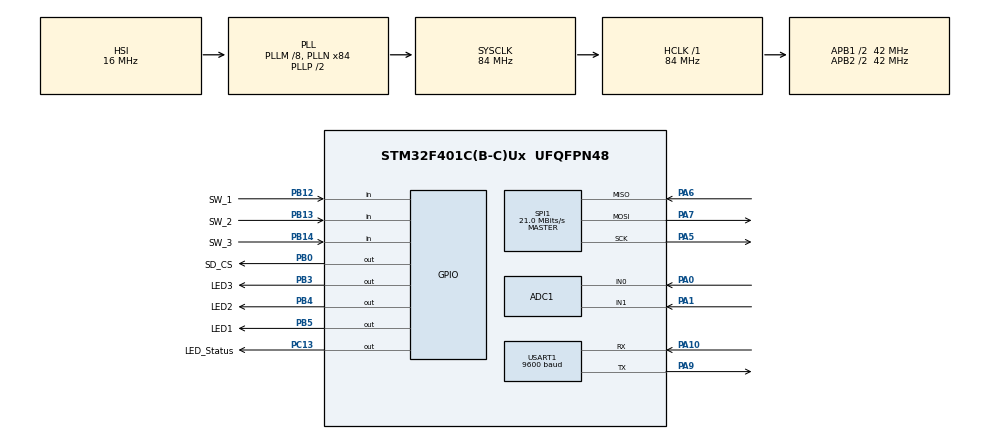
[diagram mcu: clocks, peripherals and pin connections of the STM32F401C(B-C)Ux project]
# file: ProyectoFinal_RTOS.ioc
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ADC1.Channel-0\#ChannelRegularConversion=ADC_CHANNEL_0
ADC1.Channel-1\#ChannelRegularConversion=ADC_CHANNEL_1
ADC1.ClockPrescaler=ADC_CLOCK_SYNC_PCLK_DIV8
ADC1.ContinuousConvMode=ENABLE
ADC1.DMAContinuousRequests=ENABLE
ADC1.EOCSelection=ADC_EOC_SEQ_CONV
ADC1.NbrOfConversion=2
ADC1.NbrOfConversionFlag=1
ADC1.Rank-0\#ChannelRegularConversion=1
ADC1.Rank-1\#ChannelRegularConversion=2
ADC1.SamplingTime-0\#ChannelRegularConversion=ADC_SAMPLETIME_480CYCLES
ADC1.SamplingTime-1\#ChannelRegularConversion=ADC_SAMPLETIME_480CYCLES
ADC1.master=1
Dma.ADC1.0.Direction=DMA_PERIPH_TO_MEMORY
Dma.ADC1.0.FIFOMode=DMA_FIFOMODE_DISABLE
Dma.ADC1.0.Instance=DMA2_Stream0
Dma.ADC1.0.MemDataAlignment=DMA_MDATAALIGN_WORD
Dma.ADC1.0.MemInc=DMA_MINC_ENABLE
Dma.ADC1.0.Mode=DMA_CIRCULAR
Dma.ADC1.0.PeriphDataAlignment=DMA_PDATAALIGN_WORD
Dma.ADC1.0.PeriphInc=DMA_PINC_DISABLE
Dma.ADC1.0.Priority=DMA_PRIORITY_LOW
Dma.Request0=ADC1
FATFS._MAX_SS=4096
FREERTOS.HEAP_NUMBER=4
FREERTOS.Queues01=ADC1_Queue,500,uint16_t,0,Static,ADC1_QueueBuffer,ADC1_QueueControlBlock;Pulsadores_Queue,1,uint16_t,0,Dynamic,NULL,NULL;SD_CMD_Queue,5,uint16_t,0,Dynamic,NULL,NULL;SD_STATUS_Queue,5,uint16_t,0,Dynamic,NULL,NULL;ADC1_Queue2,100,uint16_t,0,Static,ADC1_Queue2Buffer,ADC1_Queue2ControlBlock;BT_Queue,100,uint16_t,0,Static,BT_QueueBuffer,BT_QueueControlBlock
FREERTOS.Tasks01=LecturaPulsador,-2,128,StartLecturaPulsadores,Default,NULL,Dynamic,NULL,NULL;TarjetaSD,2,5000,StartTarjetaSD,Default,NULL,Dynamic,NULL,NULL;MainTask,0,512,StartMainTask,Default,NULL,Dynamic,NULL,NULL;ManejoLEDs,-2,256,StartManejoLEDs,Default,NULL,Dynamic,NULL,NULL;RunningTask,-2,128,StartRunningTask,Default,NULL,Dynamic,NULL,NULL;TareaBluetooth,-3,256,StartTareaBluetooth,Default,NULL,Dynamic,NULL,NULL
FREERTOS.configTOTAL_HEAP_SIZE=30720
Mcu.Family=STM32F4
Mcu.Name=STM32F401C(B-C)Ux
Mcu.Package=UFQFPN48
NVIC.DMA2_Stream0_IRQn=true\:5\:0\:false\:false\:true\:true\:false\:true\:true
NVIC.PriorityGroup=NVIC_PRIORITYGROUP_4
NVIC.TIM1_UP_TIM10_IRQn=true\:15\:0\:false\:false\:true\:false\:false\:true\:true
NVIC.TimeBase=TIM1_UP_TIM10_IRQn
NVIC.TimeBaseIP=TIM10
NVIC.USART1_IRQn=true\:5\:0\:false\:false\:true\:true\:true\:true\:true
PA0-WKUP.Signal=ADCx_IN0
PA1.Signal=ADCx_IN1
PA10.Mode=Asynchronous
PA10.Signal=USART1_RX
PA13.Mode=Serial_Wire
PA13.Signal=SYS_JTMS-SWDIO
PA14.Mode=Serial_Wire
PA14.Signal=SYS_JTCK-SWCLK
PA5.Mode=Full_Duplex_Master
PA5.Signal=SPI1_SCK
PA6.Mode=Full_Duplex_Master
PA6.Signal=SPI1_MISO
PA7.Mode=Full_Duplex_Master
PA7.Signal=SPI1_MOSI
PA9.Mode=Asynchronous
PA9.Signal=USART1_TX
PB0.GPIO_Label=SD_CS
PB0.Signal=GPIO_Output
PB12.GPIO_Label=SW_1
PB12.GPIO_PuPd=GPIO_PULLUP
PB12.Signal=GPIO_Input
PB13.GPIO_Label=SW_2
PB13.GPIO_PuPd=GPIO_PULLUP
PB13.Signal=GPIO_Input
PB14.GPIO_Label=SW_3
PB14.GPIO_PuPd=GPIO_PULLUP
PB14.Signal=GPIO_Input
PB3.GPIO_Label=LED3
PB3.Signal=GPIO_Output
PB4.GPIO_Label=LED2
PB4.Signal=GPIO_Output
PB5.GPIO_Label=LED1
PB5.Signal=GPIO_Output
PC13-ANTI_TAMP.GPIO_Label=LED_Status
PC13-ANTI_TAMP.PinState=GPIO_PIN_SET
PC13-ANTI_TAMP.Signal=GPIO_Output
PH0\ -\ OSC_IN.Mode=HSE-External-Oscillator
PH0\ -\ OSC_IN.Signal=RCC_OSC_IN
PH1\ -\ OSC_OUT.Mode=HSE-External-Oscillator
PH1\ -\ OSC_OUT.Signal=RCC_OSC_OUT
ProjectManager.HeapSize=0x200
ProjectManager.StackSize=0x400
ProjectManager.TargetToolchain=STM32CubeIDE
RCC.48MHZClocksFreq_Value=42000000
RCC.AHBFreq_Value=84000000
RCC.APB1CLKDivider=RCC_HCLK_DIV2
RCC.APB1Freq_Value=42000000
RCC.APB1TimFreq_Value=84000000
RCC.APB2CLKDivider=RCC_HCLK_DIV2
RCC.APB2Freq_Value=42000000
RCC.APB2TimFreq_Value=84000000
RCC.CortexFreq_Value=84000000
RCC.HCLKFreq_Value=84000000
RCC.HSE_VALUE=25000000
RCC.HSI_VALUE=16000000
RCC.LSE_VALUE=32768
RCC.PLLM=8
RCC.PLLN=84
RCC.SYSCLKFreq_VALUE=84000000
RCC.SYSCLKSource=RCC_SYSCLKSOURCE_PLLCLK
RCC.VCOOutputFreq_Value=168000000
SH.ADCx_IN0.0=ADC1_IN0,IN0
SH.ADCx_IN1.0=ADC1_IN1,IN1
SPI1.CalculateBaudRate=21.0 MBits/s
SPI1.Direction=SPI_DIRECTION_2LINES
SPI1.Mode=SPI_MODE_MASTER
SPI1.VirtualType=VM_MASTER
USART1.BaudRate=9600
USART1.VirtualMode=VM_ASYNC
VP_FATFS_VS_Generic.Mode=User_defined
VP_FREERTOS_VS_CMSIS_V1.Mode=CMSIS_V1
VP_SYS_VS_tim10.Mode=TIM10
board=custom

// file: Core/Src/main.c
/* USER CODE BEGIN Header */
/**
 ******************************************************************************
 * @file           : main.c
 * @brief          : Main program body
 ******************************************************************************
 * @attention
 *
 * Copyright (c) 2022 STMicroelectronics.
 * All rights reserved.
 *
 * This software is licensed under terms that can be found in the LICENSE file
 * in the root directory of this software component.
 * If no LICENSE file comes with this software, it is provided AS-IS.
 *
 ******************************************************************************
 */
/* USER CODE END Header */
#include "main.h"
#include "cmsis_os.h"
#include "fatfs.h"

/* USER CODE BEGIN Includes */
#include "fatfs_sd.h"
#include "string.h"
#include "stdbool.h"
#include "stdio.h"
#include "FIR.h"
#include "stdlib.h"
#include "make_wav.h"
/* USER CODE END Includes */

ADC_HandleTypeDef hadc1;
DMA_HandleTypeDef hdma_adc1;

SPI_HandleTypeDef hspi1;

UART_HandleTypeDef huart1;

osThreadId LecturaPulsadorHandle;
osThreadId TarjetaSDHandle;
osThreadId MainTaskHandle;
osThreadId ManejoLEDsHandle;
osThreadId RunningTaskHandle;
osThreadId TareaBluetoothHandle;
osMessageQId ADC1_QueueHandle;
uint8_t ADC1_QueueBuffer[ 500 * sizeof( uint16_t ) ];
osStaticMessageQDef_t ADC1_QueueControlBlock;
osMessageQId Pulsadores_QueueHandle;
osMessageQId SD_CMD_QueueHandle;
osMessageQId SD_STATUS_QueueHandle;
osMessageQId ADC1_Queue2Handle;
uint8_t ADC1_Queue2Buffer[ 100 * sizeof( uint16_t ) ];
osStaticMessageQDef_t ADC1_Queue2ControlBlock;
osMessageQId BT_QueueHandle;
uint8_t BT_QueueBuffer[ 100 * sizeof( uint16_t ) ];
osStaticMessageQDef_t BT_QueueControlBlock;
/* USER CODE BEGIN PV */

// ---------ESTADOS DEL PROGRAMA----------/
static bool ready = true;
static bool start = false;
static bool stop = false;
static bool grabarECG = false;
static bool grabarAudio = false;

static bool grabandoAudio = false;
static bool grabandoECG = false;
static bool filtrandoAudio = false;
static bool creandoWAV = false;
static bool error = false;
// ---------ESTADOS DEL PROGRAMA----------/

/*----------------------TARJETA SD ------------------------------------------*/

typedef enum {
	CMD_Nada,					//Ninguno
	CMD_GrabarADC_ECG,
	CMD_GrabarADC_Audio,
	CMD_Filtrado_Audio,
	CMD_ArchivoWav,
	CMD_Stop

} ComandosSD;

typedef enum {
	STAT_Listo,					//Ninguno
	STAT_Grabando_ECG,
	STAT_Grabando_Audio,
	STAT_Filtrando_Audio,
	STAT_Creando_WAV,
	STAT_Error

} EstadoSD;
/*----------------------TARJETA SD ------------------------------------------*/

/*----------------------ADC------------------------------------------*/
#define recordingAudioTime 10 // Tiempo de grabacion en segundos
#define recordingECGTime 30 // Tiempo de grabacion en segundos
// ---------FRECUENCIA DE MUESTREO ----------/
#define  SAMPLE_RATE_AUDIO 5303
#define  SAMPLE_RATE_ECG 1303
/* Calculado ->>
 * tconv = (Sampling Time + 15 cycles)/(APB2 Clock / Prescaler) = (480 + 15)/(2.625 Mhz)
 * tconv SAMPLE_RATE_AUDIO = 1/tconv
 */
// ---------FRECUENCIA DE MUESTREO ----------/

uint16_t contadorTest = 0;
uint32_t contadorIT_ADC = 0; //contador rutina de interrupción ADC
static const uint32_t samplesAudio_Total = recordingAudioTime
		* SAMPLE_RATE_AUDIO; //Cantidad de samplesAudio_Total totales que se deben adquirir
static const uint32_t samplesECG_Total = recordingECGTime * SAMPLE_RATE_ECG; //Cantidad de samplesAudio totales que se deben adquirir
uint32_t samplesAudio_count = 0; //Contador de samplesAudio
uint32_t samplesECG_count = 0; //Contador de samplesAudio
bool listoADC_Audio = false;
bool listoADC_ECG = false;

uint32_t datosDMA_ADC[2];

int numGrabacionADC = 0;

/****************FILTRO*********************/
#define FIR_FILTER_LENGHT 16
FIRFilter filtroPB;
//Coeficientes del filtro
static float FIR_IMPULSE_RESPONSE[FIR_FILTER_LENGHT] = { -0.0034586f,
		-0.0046729f, -0.0046977f, 0.0041916f, 0.0301665f, 0.0745832f,
		0.1277316f, 0.1715579f, 0.1885725f, 0.1715579f, 0.1277316f, 0.0745832f,
		0.0301665f, 0.0041916f, -0.0046977f, -0.0046729f };
float circularBuffer[FIR_FILTER_LENGHT] = { 0 };
uint16_t dato = 0;
/****************FILTRO*********************/

// ---------enum PULSADORES ----------/
typedef enum {
	P_None,					//Ninguno
	P_Start_Stop,
	P_GrabarECG,
	P_GrabarAudio
} Pulsadores;				//Los 3 pulsadores posibles. El 4to es de reset

// ---------enum PULSADORES ----------/

// ---------BT ----------/
bool BT_Listo = true;
// ---------BT ----------/

/* USER CODE END PV */

void SystemClock_Config(void);
static void MX_GPIO_Init(void);
static void MX_ADC1_Init(void);
static void MX_SPI1_Init(void);
static void MX_DMA_Init(void);
static void MX_USART1_UART_Init(void);
void StartLecturaPulsadores(void const * argument);
void StartTarjetaSD(void const * argument);
void StartMainTask(void const * argument);
void StartManejoLEDs(void const * argument);
void StartRunningTask(void const * argument);
void StartTareaBluetooth(void const * argument);

int main(void)
{

  /* MCU Configuration--------------------------------------------------------*/

  /* Reset of all peripherals, Initializes the Flash interface and the Systick. */
  HAL_Init();

  /* Configure the system clock */
  SystemClock_Config();

  /* Initialize all configured peripherals */
  MX_GPIO_Init();
  MX_DMA_Init();
  MX_ADC1_Init();
  MX_SPI1_Init();

  MX_FATFS_Init();
  MX_USART1_UART_Init();
  /* USER CODE BEGIN 2 */
 //OJO CON EL BUG ^^^^^
  //TIENE QUE IR ASI
  /*
   MX_GPIO_Init();
   MX_DMA_Init();
   MX_ADC1_Init();
   MX_SPI1_Init();
   MX_FATFS_Init();
   */
  /* USER CODE END 2 */

  /* Create the queue(s) */
  /* definition and creation of ADC1_Queue */
  osMessageQStaticDef(ADC1_Queue, 500, uint16_t, ADC1_QueueBuffer, &ADC1_QueueControlBlock);
  ADC1_QueueHandle = osMessageCreate(osMessageQ(ADC1_Queue), NULL);

  /* definition and creation of Pulsadores_Queue */
  osMessageQDef(Pulsadores_Queue, 1, uint16_t);
  Pulsadores_QueueHandle = osMessageCreate(osMessageQ(Pulsadores_Queue), NULL);

  /* definition and creation of SD_CMD_Queue */
  osMessageQDef(SD_CMD_Queue, 5, uint16_t);
  SD_CMD_QueueHandle = osMessageCreate(osMessageQ(SD_CMD_Queue), NULL);

  /* definition and creation of SD_STATUS_Queue */
  osMessageQDef(SD_STATUS_Queue, 5, uint16_t);
  SD_STATUS_QueueHandle = osMessageCreate(osMessageQ(SD_STATUS_Queue), NULL);

  /* definition and creation of ADC1_Queue2 */
  osMessageQStaticDef(ADC1_Queue2, 100, uint16_t, ADC1_Queue2Buffer, &ADC1_Queue2ControlBlock);
  ADC1_Queue2Handle = osMessageCreate(osMessageQ(ADC1_Queue2), NULL);

  /* definition and creation of BT_Queue */
  osMessageQStaticDef(BT_Queue, 100, uint16_t, BT_QueueBuffer, &BT_QueueControlBlock);
  BT_QueueHandle = osMessageCreate(osMessageQ(BT_Queue), NULL);

  /* Create the thread(s) */
  /* definition and creation of LecturaPulsador */
  osThreadDef(LecturaPulsador, StartLecturaPulsadores, osPriorityLow, 0, 128);
  LecturaPulsadorHandle = osThreadCreate(osThread(LecturaPulsador), NULL);

  /* definition and creation of TarjetaSD */
  osThreadDef(TarjetaSD, StartTarjetaSD, osPriorityHigh, 0, 5000);
  TarjetaSDHandle = osThreadCreate(osThread(TarjetaSD), NULL);

  /* definition and creation of MainTask */
  osThreadDef(MainTask, StartMainTask, osPriorityNormal, 0, 512);
  MainTaskHandle = osThreadCreate(osThread(MainTask), NULL);

  /* definition and creation of ManejoLEDs */
  osThreadDef(ManejoLEDs, StartManejoLEDs, osPriorityLow, 0, 256);
  ManejoLEDsHandle = osThreadCreate(osThread(ManejoLEDs), NULL);

  /* definition and creation of RunningTask */
  osThreadDef(RunningTask, StartRunningTask, osPriorityLow, 0, 128);
  RunningTaskHandle = osThreadCreate(osThread(RunningTask), NULL);

  /* definition and creation of TareaBluetooth */
  osThreadDef(TareaBluetooth, StartTareaBluetooth, osPriorityIdle, 0, 256);
  TareaBluetoothHandle = osThreadCreate(osThread(TareaBluetooth), NULL);

  /* Start scheduler */
  osKernelStart();

  /* We should never get here as control is now taken by the scheduler */
  /* Infinite loop */
	while (1) {

	}
}

void SystemClock_Config(void)
{
  RCC_OscInitTypeDef RCC_OscInitStruct = {0};
  RCC_ClkInitTypeDef RCC_ClkInitStruct = {0};

  /** Configure the main internal regulator output voltage
  */
  __HAL_RCC_PWR_CLK_ENABLE();
  __HAL_PWR_VOLTAGESCALING_CONFIG(PWR_REGULATOR_VOLTAGE_SCALE2);
  /** Initializes the RCC Oscillators according to the specified parameters
  * in the RCC_OscInitTypeDef structure.
  */
  RCC_OscInitStruct.OscillatorType = RCC_OSCILLATORTYPE_HSI;
  RCC_OscInitStruct.HSIState = RCC_HSI_ON;
  RCC_OscInitStruct.HSICalibrationValue = RCC_HSICALIBRATION_DEFAULT;
  RCC_OscInitStruct.PLL.PLLState = RCC_PLL_ON;
  RCC_OscInitStruct.PLL.PLLSource = RCC_PLLSOURCE_HSI;
  RCC_OscInitStruct.PLL.PLLM = 8;
  RCC_OscInitStruct.PLL.PLLN = 84;
  RCC_OscInitStruct.PLL.PLLP = RCC_PLLP_DIV2;
  RCC_OscInitStruct.PLL.PLLQ = 4;
  if (HAL_RCC_OscConfig(&RCC_OscInitStruct) != HAL_OK)
  {
    Error_Handler();
  }
  /** Initializes the CPU, AHB and APB buses clocks
  */
  RCC_ClkInitStruct.ClockType = RCC_CLOCKTYPE_HCLK|RCC_CLOCKTYPE_SYSCLK
                              |RCC_CLOCKTYPE_PCLK1|RCC_CLOCKTYPE_PCLK2;
  RCC_ClkInitStruct.SYSCLKSource = RCC_SYSCLKSOURCE_PLLCLK;
  RCC_ClkInitStruct.AHBCLKDivider = RCC_SYSCLK_DIV1;
  RCC_ClkInitStruct.APB1CLKDivider = RCC_HCLK_DIV2;
  RCC_ClkInitStruct.APB2CLKDivider = RCC_HCLK_DIV2;

  if (HAL_RCC_ClockConfig(&RCC_ClkInitStruct, FLASH_LATENCY_2) != HAL_OK)
  {
    Error_Handler();
  }
}

static void MX_ADC1_Init(void)
{

  ADC_ChannelConfTypeDef sConfig = {0};

  /** Configure the global features of the ADC (Clock, Resolution, Data Alignment and number of conversion)
  */
  hadc1.Instance = ADC1;
  hadc1.Init.ClockPrescaler = ADC_CLOCK_SYNC_PCLK_DIV8;
  hadc1.Init.Resolution = ADC_RESOLUTION_12B;
  hadc1.Init.ScanConvMode = ENABLE;
  hadc1.Init.ContinuousConvMode = ENABLE;
  hadc1.Init.DiscontinuousConvMode = DISABLE;
  hadc1.Init.ExternalTrigConvEdge = ADC_EXTERNALTRIGCONVEDGE_NONE;
  hadc1.Init.ExternalTrigConv = ADC_SOFTWARE_START;
  hadc1.Init.DataAlign = ADC_DATAALIGN_RIGHT;
  hadc1.Init.NbrOfConversion = 2;
  hadc1.Init.DMAContinuousRequests = ENABLE;
  hadc1.Init.EOCSelection = ADC_EOC_SEQ_CONV;
  if (HAL_ADC_Init(&hadc1) != HAL_OK)
  {
    Error_Handler();
  }
  /** Configure for the selected ADC regular channel its corresponding rank in the sequencer and its sample time.
  */
  sConfig.Channel = ADC_CHANNEL_0;
  sConfig.Rank = 1;
  sConfig.SamplingTime = ADC_SAMPLETIME_480CYCLES;
  if (HAL_ADC_ConfigChannel(&hadc1, &sConfig) != HAL_OK)
  {
    Error_Handler();
  }
  /** Configure for the selected ADC regular channel its corresponding rank in the sequencer and its sample time.
  */
  sConfig.Channel = ADC_CHANNEL_1;
  sConfig.Rank = 2;
  if (HAL_ADC_ConfigChannel(&hadc1, &sConfig) != HAL_OK)
  {
    Error_Handler();
  }

}

static void MX_SPI1_Init(void)
{

  /* SPI1 parameter configuration*/
  hspi1.Instance = SPI1;
  hspi1.Init.Mode = SPI_MODE_MASTER;
  hspi1.Init.Direction = SPI_DIRECTION_2LINES;
  hspi1.Init.DataSize = SPI_DATASIZE_8BIT;
  hspi1.Init.CLKPolarity = SPI_POLARITY_LOW;
  hspi1.Init.CLKPhase = SPI_PHASE_1EDGE;
  hspi1.Init.NSS = SPI_NSS_SOFT;
  hspi1.Init.BaudRatePrescaler = SPI_BAUDRATEPRESCALER_2;
  hspi1.Init.FirstBit = SPI_FIRSTBIT_MSB;
  hspi1.Init.TIMode = SPI_TIMODE_DISABLE;
  hspi1.Init.CRCCalculation = SPI_CRCCALCULATION_DISABLE;
  hspi1.Init.CRCPolynomial = 10;
  if (HAL_SPI_Init(&hspi1) != HAL_OK)
  {
    Error_Handler();
  }

}

static void MX_USART1_UART_Init(void)
{

  huart1.Instance = USART1;
  huart1.Init.BaudRate = 9600;
  huart1.Init.WordLength = UART_WORDLENGTH_8B;
  huart1.Init.StopBits = UART_STOPBITS_1;
  huart1.Init.Parity = UART_PARITY_NONE;
  huart1.Init.Mode = UART_MODE_TX_RX;
  huart1.Init.HwFlowCtl = UART_HWCONTROL_NONE;
  huart1.Init.OverSampling = UART_OVERSAMPLING_16;
  if (HAL_UART_Init(&huart1) != HAL_OK)
  {
    Error_Handler();
  }

}

static void MX_DMA_Init(void)
{

  /* DMA controller clock enable */
  __HAL_RCC_DMA2_CLK_ENABLE();

  /* DMA interrupt init */
  /* DMA2_Stream0_IRQn interrupt configuration */
  HAL_NVIC_SetPriority(DMA2_Stream0_IRQn, 5, 0);
  HAL_NVIC_EnableIRQ(DMA2_Stream0_IRQn);

}

static void MX_GPIO_Init(void)
{
  GPIO_InitTypeDef GPIO_InitStruct = {0};

  /* GPIO Ports Clock Enable */
  __HAL_RCC_GPIOC_CLK_ENABLE();
  __HAL_RCC_GPIOH_CLK_ENABLE();
  __HAL_RCC_GPIOA_CLK_ENABLE();
  __HAL_RCC_GPIOB_CLK_ENABLE();

  /*Configure GPIO pin Output Level */
  HAL_GPIO_WritePin(LED_Status_GPIO_Port, LED_Status_Pin, GPIO_PIN_SET);

  /*Configure GPIO pin Output Level */
  HAL_GPIO_WritePin(GPIOB, SD_CS_Pin|LED3_Pin|LED2_Pin|LED1_Pin, GPIO_PIN_RESET);

  /*Configure GPIO pin : LED_Status_Pin */
  GPIO_InitStruct.Pin = LED_Status_Pin;
  GPIO_InitStruct.Mode = GPIO_MODE_OUTPUT_PP;
  GPIO_InitStruct.Pull = GPIO_NOPULL;
  GPIO_InitStruct.Speed = GPIO_SPEED_FREQ_LOW;
  HAL_GPIO_Init(LED_Status_GPIO_Port, &GPIO_InitStruct);

  /*Configure GPIO pins : SD_CS_Pin LED3_Pin LED2_Pin LED1_Pin */
  GPIO_InitStruct.Pin = SD_CS_Pin|LED3_Pin|LED2_Pin|LED1_Pin;
  GPIO_InitStruct.Mode = GPIO_MODE_OUTPUT_PP;
  GPIO_InitStruct.Pull = GPIO_NOPULL;
  GPIO_InitStruct.Speed = GPIO_SPEED_FREQ_LOW;
  HAL_GPIO_Init(GPIOB, &GPIO_InitStruct);

  /*Configure GPIO pins : SW_1_Pin SW_2_Pin SW_3_Pin */
  GPIO_InitStruct.Pin = SW_1_Pin|SW_2_Pin|SW_3_Pin;
  GPIO_InitStruct.Mode = GPIO_MODE_INPUT;
  GPIO_InitStruct.Pull = GPIO_PULLUP;
  HAL_GPIO_Init(GPIOB, &GPIO_InitStruct);

}

/* USER CODE BEGIN 4 */
void HAL_UART_TxCpltCallback(UART_HandleTypeDef *huart)
{
   BT_Listo = true;
}
/* ---------------------- RUTINA DE INTERRUPCIÓN ADC ---------------------*/
void HAL_ADC_ConvCpltCallback(ADC_HandleTypeDef *hadc) {

	/*
	 * LOS DATOS DEL ADC SE GRABAN MEDIANTE DMA (DIRECT MEMORY ACESS)
	 * EL MICRO LO HACE EN SEGUNDO PLANO AUTOMATICAMENTE
	 * No se porqué al agregar DMA con 2 canales tuve que duplicar la frecuencia del
	 * APB2clock de 21 a 42 MHz, porque sino me muestreaba a la mitad de velocidad que yo queria
	 * 5303 samples/s.
	 * */

	if (grabandoAudio && !listoADC_Audio) {
		//datosDMA_ADC[1] contiene el valor del canal 2 del ADC (Pin A1)
		osMessagePut(ADC1_QueueHandle, datosDMA_ADC[1], 0); //Lo coloco en la cola de mensajes correspondiente al muestreo del audio
		samplesAudio_count++;
	}
	//Se muestrea el ECG 4 veces mas lento que el audio
	//datosDMA_ADC[0] contiene el valor del canal 1 del ADC (Pin A0)
	if (grabandoECG && (contadorIT_ADC % 4 == 0) && !listoADC_ECG){
		osMessagePut(ADC1_Queue2Handle, datosDMA_ADC[0], 0);  //Lo coloco en la cola de mensajes correspondiente al muestreo del ECG
		osMessagePut(BT_QueueHandle,datosDMA_ADC[0],0);
		samplesECG_count++;
	}
	contadorIT_ADC++;
	//osMessagePut(ADC1_QueueHandle, contadorTest++, 0);// Prueba para ver si se graban todos los valores
	/*If continuousconversion mode is DISABLED uncomment below*/

}
/* ---------------------- RUTINA DE INTERRUPCIÓN ADC ---------------------*/
/* USER CODE END 4 */

/* USER CODE BEGIN Header_StartLecturaPulsadores */
/**
 * @brief  Funcion que implementa la tarea encargada de leer los pulsadores.
 * Esta misma le envia una cola de mensajes a la tarea Main con el valor correspondiente
 * al pulsador presionado
 * @param  argument: Not used
 * @retval None
 */
/* USER CODE END Header_StartLecturaPulsadores */
void StartLecturaPulsadores(void const * argument)
{
  /* USER CODE BEGIN 5 */
	/* Infinite loop */
	Pulsadores teclaPulsada = P_None;
	for (;;)

	{

		if (HAL_GPIO_ReadPin(SW_1_GPIO_Port, SW_1_Pin) == GPIO_PIN_RESET) {
			teclaPulsada = P_Start_Stop;
			osMessagePut(Pulsadores_QueueHandle, teclaPulsada, 100);
			osDelay(250);

		}
		if (HAL_GPIO_ReadPin(SW_2_GPIO_Port, SW_2_Pin) == GPIO_PIN_RESET) {
			teclaPulsada = P_GrabarECG;
			osMessagePut(Pulsadores_QueueHandle, teclaPulsada, 100);
			osDelay(250);
		}
		if (HAL_GPIO_ReadPin(SW_3_GPIO_Port, SW_3_Pin) == GPIO_PIN_RESET) {
			teclaPulsada = P_GrabarAudio;
			osMessagePut(Pulsadores_QueueHandle, teclaPulsada, 100);
			osDelay(250);
		}

		osDelay(50);

	}
  /* USER CODE END 5 */
}

/* USER CODE BEGIN Header_StartTarjetaSD */
/**
 * @brief Funcion que implementa la tarea TarjetaSD
 * Originalmente esta tarea se iba a encargar únicamente de leer y escribir datos en la tarjeta SD
 * pero por practicidad también se encarga de filtrar el archivo de audio y de generar el .WAV
 * Recibe mensajes de la main task con los comandos que le indican que hacer, y ademas recibe 2 colas
 * de mensajes de la rutina de interrupción del ADC, con los datos tanto del muestreo del ECG y del audio
 * @param argument: Not used
 * @retval None
 */
/* USER CODE END Header_StartTarjetaSD */
void StartTarjetaSD(void const * argument)
{
  /* USER CODE BEGIN StartTarjetaSD */
	/*-------------CREACION DE VARIABLES DE LA SD TASK -----------------*/
	ComandosSD comandoMainTask = CMD_Nada;//Comandos que envia por mensaje la mainTask
	uint16_t datoADCAudio = 0;
	uint16_t datoADC_ECG = 0;

	/* ------- ESTADOS DE LA TAREA SD -----*/
	//Estas variables se setean con comandos de la main task
	bool AlmacenarADCAudio = false;
	bool AlmacenarADC_ECG = false;
	bool errorSD = false;
	bool stop = false;
	bool filtrarAudio = false;
	bool crearWAV = false;
	/* ------- ESTADOS DE LA TAREA SD -----*/

	/* PARA ARMAR LOS NOMBRES DE LOS ARCHIVOS*/
	static const char *wav = ".wav";
	static const char *csv = ".csv";
	static const char *filtrada = "%i_filt"; //El %i sirve para que la funcion sprintf lo reemplaze por un numero
	static const char *grabacion = "%i_unf";
	static const char *ECG = "%i_ECG";

	char nombreArchivo1[24] = { 0 }; //Archivo1 y Archivo2 son para Audio
	char nombreArchivo2[24] = { 0 };
	char nombreArchivoECG[24] = { 0 };
	/* PARA ARMAR LOS NOMBRES DE LOS ARCHIVOS*/

	FIL Archivo1;  //Estructura con los datos del archivo 1
	FIL Archivo2;  //Estructura con los datos del archivo 2
	FIL ArchivoECG;  //Estructura con los datos del archivo ECG
	FATFS fs; //file system

	/*-------------CREACION DE VARIABLES DE LA SD TASK -----------------*/

	/*-------------SE EJECUTA UNA SOLA VEZ ANTES DEL LOOP -----------------*/
	//Intento montar la tarjeta SD antes de entrar en el loop
	if (f_mount(&fs, "", 1) != FR_OK) {
		errorSD = true;
		osMessagePut(SD_STATUS_QueueHandle, STAT_Error, 0); //Envio mensaje de error a la main Task
	} else {
		f_mount(NULL, "", 1); //Desmonto la SD
		osDelay(200);
		osMessagePut(SD_STATUS_QueueHandle, STAT_Listo, 0); // esta okey

	}
	osDelay(100);
	/*-------------SE EJECUTA UNA SOLA VEZ ANTES DEL LOOP -----------------*/
	/* Infinite loop */
	for (;;) {

		//------------COMANDOS PROVENIENTES DE LA MAIN TASK----------------------------//
		if (osMessageWaiting(SD_CMD_QueueHandle) > 0) { //Si hay un mensaje nuevo proveniente de la main task
			comandoMainTask = osMessageGet(SD_CMD_QueueHandle, 0).value.v;

			switch (comandoMainTask) {

			case CMD_Stop:
				stop = true;
				break;
			case CMD_GrabarADC_Audio: //La main task me ordena que comience a almacenar Audio proveniente del ADC

				/*-----------Monto la tarjeta SD--------------------*/
				if (f_mount(&fs, "", 1) != FR_OK) {
					errorSD = true;
					osMessagePut(SD_STATUS_QueueHandle, STAT_Error, 0); //Envio mensaje de error a la main Task
				}
				/*-----------Monto la tarjeta SD--------------------*/
				/*-----------CREO EL ARCHIVO PARA ALMACENAR LOS DATOS DEL ADC SIN FILTRAR--------------------*/
				memset(nombreArchivo1, 0, sizeof(nombreArchivo1));
				memset(nombreArchivo2, 0, sizeof(nombreArchivo2));
				sprintf(nombreArchivo1, grabacion, numGrabacionADC);
				strcat(nombreArchivo1, csv);

				/*-----------CREO EL ARCHIVO PARA ALMACENAR LOS DATOS DEL ADC SIN FILTRAR--------------------*/
				if (f_open(&Archivo1, nombreArchivo1,
						FA_CREATE_ALWAYS | FA_READ | FA_WRITE) != FR_OK) {
					errorSD = true;
					osMessagePut(SD_STATUS_QueueHandle, STAT_Error, 0); //Envio mensaje de error a la main Task
				} else {
					AlmacenarADCAudio = true;
					osMessagePut(SD_STATUS_QueueHandle, STAT_Grabando_Audio, 0); //Le envio mensaje a la main diciendo que comienza la grabacion
					HAL_ADC_Start_DMA(&hadc1, datosDMA_ADC, 2); //Arranco al ADC por DMA
				}

				break;
			case CMD_GrabarADC_ECG:  //La main me ordena que comience a almacenar ECG proveniente del ADC

				/*-----------CREO EL ARCHIVO PARA ALMACENAR LOS DATOS DEL ADC DEL ECG--------------------*/
				memset(nombreArchivoECG, 0, sizeof(nombreArchivoECG));
				sprintf(nombreArchivoECG, ECG, numGrabacionADC);
				strcat(nombreArchivoECG, csv);
				/*-----------CREO EL ARCHIVO PARA ALMACENAR LOS DATOS DEL ADC DEL ECG--------------------*/

				if (!AlmacenarADCAudio) { //Si tambien estoy grabando audio encontces la tarjeta SD ya esta montada
					/*-----------Monto la tarjeta SD--------------------*/
					if (f_mount(&fs, "", 1) != FR_OK) {
						errorSD = true;
						osMessagePut(SD_STATUS_QueueHandle, STAT_Error, 0); //Envio mensaje de error a la main Task
					}
					/*-----------Monto la tarjeta SD--------------------*/
				}

				if (f_open(&ArchivoECG, nombreArchivoECG,
						FA_CREATE_ALWAYS | FA_READ | FA_WRITE) != FR_OK) {
					errorSD = true;
					osMessagePut(SD_STATUS_QueueHandle, STAT_Error, 0); //Envio mensaje de error a la main Task
				} else {
					if (!AlmacenarADCAudio) HAL_ADC_Start_DMA(&hadc1, datosDMA_ADC, 2); //Si ya estoy almacenando audio, no hace falta arrancar ADC

					osMessagePut(SD_STATUS_QueueHandle, STAT_Grabando_ECG, 0); //Envio mensaje a la main diciendo que estoy grabando ECG
					AlmacenarADC_ECG = true;
				}

				break;

			case CMD_Filtrado_Audio:

				filtrarAudio = true;

				break;
			case CMD_ArchivoWav:
				crearWAV = true;
				break;

			default:
				break;
			}
		}

		//------------COMANDOS PROVENIENTES DE LA MAIN TASK----------------------------//

		if ((AlmacenarADCAudio || AlmacenarADC_ECG) && !errorSD) {

			if (osMessageWaiting(ADC1_QueueHandle) > 0) { //Me fijo si la interrupcion del ADC me mando dato
				datoADCAudio =
						(uint16_t) osMessageGet(ADC1_QueueHandle, 0).value.v;
				f_printf(&Archivo1, "%u,", datoADCAudio); // Voy grabando los datos de audio en el archivo
			}else
			if (osMessageWaiting(ADC1_Queue2Handle) > 0) { //Me fijo si la interrupcion del ADC me mando dato
				datoADC_ECG =
						(uint16_t) osMessageGet(ADC1_Queue2Handle, 0).value.v;
				f_printf(&ArchivoECG, "%u,", datoADC_ECG); // Voy grabando los datos de ECG en el archivo
			}else
			{

			if (stop) //La main task me puede detener por pulsador o porque ya se registraron los datos necesarios
			{

				stop = false;
				if (AlmacenarADCAudio)
					f_close(&Archivo1); //cerrar archivo
				osDelay(100);
				if (AlmacenarADC_ECG)
				{
					f_lseek(&ArchivoECG, f_tell(&ArchivoECG) -1 );  //Borro la ultima ','
					f_putc('\0',&ArchivoECG );						//Borro la ultima ','
					osDelay(10);
					f_close(&ArchivoECG); //cerrar archivo
				}
				osDelay(100);
				AlmacenarADCAudio = false;
				AlmacenarADC_ECG = false;
				osMessagePut(SD_STATUS_QueueHandle, STAT_Listo, 0); //Le digo a la Main que ya termine de almacenar
			}
			osDelay(5);
			}

		}

		if (filtrarAudio && !errorSD) {
			FIRFilter_Init(&filtroPB, FIR_IMPULSE_RESPONSE, circularBuffer,
			FIR_FILTER_LENGHT); 		//inicio el filtro

			sprintf(nombreArchivo2, filtrada, numGrabacionADC);
			strcat(nombreArchivo2, csv);

			if (f_open(&Archivo2, nombreArchivo2, //Creo el archivo para almacenar samplesAudio_Total filtradas
					FA_CREATE_ALWAYS | FA_READ | FA_WRITE) != FR_OK) {
				errorSD = true;
				osMessagePut(SD_STATUS_QueueHandle, STAT_Error, 0); //Envio mensaje de error a la main Task
			}

			osDelay(100);

			if (f_open(&Archivo1, nombreArchivo1, FA_READ) != FR_OK) {//Abro el archivo de las samplesAudio_Total sin filtro
				errorSD = true;
				osMessagePut(SD_STATUS_QueueHandle, STAT_Error, 0); //Envio mensaje de error a la main Task
			} else {
				osMessagePut(SD_STATUS_QueueHandle, STAT_Filtrando_Audio, 0);
				char readBuffer[4] = { 0 };	//buffer para leer 4 char que son los digitos de un dato int
				char writeBuffer[6] = { 0 }; //buffer para escribir en char un numero int
				float number = 0.0f;
				int intNumber = 0;
				int i = 0;
				UINT bytesLeidos = 0;
				BYTE buffer[1]; // array de 1, es decir, un solo caracter
				FRESULT resultado;
				/*
				 * A continuación voy a leer un archivo .csv quiere decir que todos los datos estan escritos como cadena
				 * de caracteres separados por coma, por ejemplo 1234,5678,1234,3423.... etc
				 * es por eso que debo leer los 4 caracteres del numero y formar un int con ellos
				 * si leo una coma ',' quiere decir que ya lei el numero completo y debo pasar al siguiente
				 * */
				int contadorDelay = 0; // contador para agregar un osDelay y que el sistema no se cuelgue
				for (;;) { //Bucle que lee de un archivo csv, aplica el filtro y escribe en el otro

					resultado = f_read(&Archivo1, buffer, sizeof buffer,
							&bytesLeidos); //Leo  un char
					if (bytesLeidos == 0)
						break; /* error or eof */

					switch (buffer[0]) {
					case ',': //Si el char es una coma quiere decir que ya lei el numero completo
						i = 0;
						number = atof(readBuffer); //paso de una cadena de char a un float
						FIRFilter_Update(&filtroPB, number); // Actualizo el filtro FIR con el float
						intNumber = (int) filtroPB.out; //El nuevo valor es la salida del filtro FIR
						if (intNumber < 0){ //Por si el filtro devuelve valores negativos
							//Salteo numeros negativos
						} else
						{
						sprintf(writeBuffer, "%04d,", intNumber); //Escribo una cadena de char a partir de un int
						f_puts(writeBuffer, &Archivo2);
						}
						memset(readBuffer, 0, sizeof(readBuffer)); //Vacio los buffer
						memset(writeBuffer, 0, sizeof(writeBuffer)); //Vacio los buffer
						contadorDelay++;

						break;
					default: //Si el char no es una coma voy almacenando los digitos del numero en un array
						readBuffer[i++] = buffer[0];
						if (i > strlen(readBuffer))
							i = 0;
						break;

					}
					if (contadorDelay >= 20) //Delay cada x datos escritos para que se ejecuten otras tareas
							{
						contadorDelay = 0;
						osDelay(1);
					}

				}
				f_close(&Archivo1);
				f_close(&Archivo2);
				filtrarAudio = false;
				f_mount(NULL, "", 1); //Desmonto la SD
				osMessagePut(SD_STATUS_QueueHandle, STAT_Listo, 0);

			}

		}

		if (crearWAV && !errorSD) {
			//Creo  un archivo .wav a partir de un archivo csv con esta funcion
			memset(nombreArchivo2, 0, sizeof(nombreArchivo2));
			sprintf(nombreArchivo2, filtrada, numGrabacionADC);
			strcat(nombreArchivo2, wav);

			memset(nombreArchivo1, 0, sizeof(nombreArchivo1));
			sprintf(nombreArchivo1, filtrada, numGrabacionADC);
			strcat(nombreArchivo1, csv);

			if (f_mount(&fs, "", 1) != FR_OK) {
				errorSD = true;
				osMessagePut(SD_STATUS_QueueHandle, STAT_Error, 0); //Envio mensaje de error a la main Task
			}

			if (f_open(&Archivo2, nombreArchivo2, //Creo el archivo para almacenar samplesAudio_Total filtradas
					FA_CREATE_ALWAYS | FA_READ | FA_WRITE) != FR_OK) {
				errorSD = true;
				osMessagePut(SD_STATUS_QueueHandle, STAT_Error, 0); //Envio mensaje de error a la main Task
			}

			osDelay(100);
			if (f_open(&Archivo1, nombreArchivo1, FA_READ) != FR_OK) {//Abro el archivo de las samplesAudio_Total sin filtro
				errorSD = true;
				osMessagePut(SD_STATUS_QueueHandle, STAT_Error, 0); //Envio mensaje de error a la main Task
			} else {
				osMessagePut(SD_STATUS_QueueHandle, STAT_Creando_WAV, 0);

				uint16_t num_channels;
				uint16_t bytes_per_sample;
				uint32_t byte_rate;
				uint32_t samplesCount = 0;
				UINT bytesWritten;
				num_channels = 1; /* monoaural */
				bytes_per_sample = 2; //16 bits
				byte_rate = SAMPLE_RATE_AUDIO * num_channels * bytes_per_sample;

				/* --------------------- ESCRIBO TODO EL HEADER DEL FORMATO WAV ---------------- */
				/* write RIFF header */

				//fwrite("RIFF", 1, 4, Archivo2);
				f_write(&Archivo2, "RIFF", 4, &bytesWritten);
				write_little_endian(
						36
								+ bytes_per_sample * samplesAudio_Total
										* num_channels, 4, &Archivo2);
				//fwrite("WAVE", 1, 4, Archivo2);
				f_write(&Archivo2, "WAVE", 4, &bytesWritten);
				/* write fmt  subchunk */
				//fwrite("fmt ", 1, 4, Archivo2);
				f_write(&Archivo2, "fmt ", 4, &bytesWritten);
				write_little_endian(16, 4, &Archivo2); /* SubChunk1Size is 16 */
				write_little_endian(1, 2, &Archivo2); /* PCM is format 1 */
				write_little_endian(num_channels, 2, &Archivo2);
				write_little_endian(SAMPLE_RATE_AUDIO, 4, &Archivo2);
				write_little_endian(byte_rate, 4, &Archivo2);
				write_little_endian(num_channels * bytes_per_sample, 2,
						&Archivo2); /* block align */
				write_little_endian(8 * bytes_per_sample, 2, &Archivo2); /* bits/sample */
				/* --------------------- ESCRIBO TODO EL HEADER DEL FORMATO WAV ---------------- 	 */
				/* write data subchunk */
				//fwrite("data", 1, 4, Archivo2);
				f_write(&Archivo2, "data", 4, &bytesWritten);
				osDelay(100);

				char readBuffer[4] = { 0 };
				int intNumber = 0;
				int normalizedNumber;
				int i = 0;
				UINT bytesLeidos = 0;
				BYTE buffer[1]; // array de 1, es decir, un solo caracter

				for (;;) {
					f_read(&Archivo1, buffer, sizeof buffer, &bytesLeidos); //Leo  un char
					if (bytesLeidos == 0)
						break; /* error or eof */

					switch (buffer[0]) {
					case ',': //Si el char es una coma quiere decir que ya lei el numero completo
						i = 0;
						intNumber = atoi(readBuffer);
						//Escalo el valor del adc (0 a 4095) a valores int16_t que van desde -32768 a 32767
						normalizedNumber = (((65535) / (4095)) * intNumber)
								- 32768;

						//if(normalizedNumber != 0) //Si el wav arranca con datos 0 se chotea

						write_little_endian((int16_t) (normalizedNumber),
								bytes_per_sample, &Archivo2);

						memset(readBuffer, 0, sizeof(readBuffer));
						samplesCount++;
						break;
					default: //Si el char no es una coma voy almacenando los digitos del numero en un array
						readBuffer[i++] = buffer[0];
						if (i > sizeof(readBuffer))
							i = 0;
						break;

					}
					if (samplesCount % 20 == 0) //delay para que se ejecuten otras tareas
							{
						osDelay(1);
					}
					if (samplesCount >= samplesAudio_Total)
						break;
				}
				f_close(&Archivo1);
				f_close(&Archivo2);

			}
			crearWAV = false;
			f_mount(NULL, "", 1); //Desmonto la SD
			osMessagePut(SD_STATUS_QueueHandle, STAT_Listo, 0);

		}

		if (!AlmacenarADCAudio && !AlmacenarADC_ECG) {
			osDelay(10);
		}

	}
  /* USER CODE END StartTarjetaSD */
}

void StartMainTask(void const * argument)
{
  /* USER CODE BEGIN StartMainTask */

	/*-------------CREACION DE VARIABLES DE LA MAIN TASK */
	Pulsadores teclaPulsada = P_None;
	EstadoSD estadoSDTask = STAT_Listo;
	bool listoSD = false;
	/*-------------CREACION DE VARIABLES DE LA MAIN TASK */

	/* Infinite loop */
	for (;;) {

		/*-----------------PULSADORES PRESIONADOS ---------------------*/
		if (osMessageWaiting(Pulsadores_QueueHandle) > 0) {
			teclaPulsada = osMessageGet(Pulsadores_QueueHandle, 0).value.v;

			switch (teclaPulsada) {
			case P_Start_Stop:

				if (!error && ready && !stop && (grabarAudio || grabarECG))
				{
					start = true;
				} else
				{
					stop = true;
				}

				break;
			case P_GrabarECG:
				if (ready)
					grabarECG = !grabarECG;

				break;
			case P_GrabarAudio:
				if (ready)
					grabarAudio = !grabarAudio;

				break;
			default:
				break;
			}

		}
		/*-----------------PULSADORES PRESIONADOS ---------------------*/

		/*-----------------Comunicacion con la tarea SD ---------------------*/
		if (osMessageWaiting(SD_STATUS_QueueHandle) > 0) {
			estadoSDTask = osMessageGet(SD_STATUS_QueueHandle, 0).value.v;

			switch (estadoSDTask) {
			case STAT_Listo:
				listoSD = true;
				break;
			case STAT_Error:
				error = true;
				break;
			case STAT_Grabando_Audio:
				grabandoAudio = true;
				break;
			case STAT_Filtrando_Audio:
				filtrandoAudio = true;
				break;
			case STAT_Creando_WAV:
				creandoWAV = true;
				break;

			case STAT_Grabando_ECG:
				grabandoECG = true;
				break;

			default:
				break;
			}

		}
		/*-----------------PULSADORES PRESIONADOS ---------------------*/

		/*----------------- LOGICA DEL PROGRAMA ---------------------*/
		if (start && ready) {
			start = false;
			ready = false;

			if (grabarAudio || grabarECG)

			{
				listoSD = false;
				numGrabacionADC++;
				if (grabarAudio) {
					samplesAudio_count = 0;
					osMessagePut(SD_CMD_QueueHandle, CMD_GrabarADC_Audio, 0);
				} else
					listoADC_Audio = true;
				if (grabarECG) {
					samplesECG_count = 0;
					osMessagePut(SD_CMD_QueueHandle, CMD_GrabarADC_ECG, 0);

				} else
					listoADC_ECG = true;
			}

		}

		if (samplesAudio_count >= samplesAudio_Total || stop) {

			listoADC_Audio = true;
			samplesAudio_count = 0;
		}

		if (samplesECG_count >= samplesECG_Total || stop) {
			stop=false;
			listoADC_ECG = true;
			samplesECG_count = 0;
		}

		if (listoADC_Audio && listoADC_ECG) {
			HAL_ADC_Stop_DMA(&hadc1);
			contadorIT_ADC = 0;
			listoADC_Audio = false;
			listoADC_ECG = false;
			osMessagePut(SD_CMD_QueueHandle, CMD_Stop, 0);
			osDelay(10);

		}

		if (grabandoECG && listoSD) {

			grabandoECG = false;
			if(!grabandoAudio)
			{

				listoSD = false;
				ready = true;
			}
		}

		if (grabandoAudio && listoSD) {
			listoSD = false;
			grabandoAudio = false;
			osMessagePut(SD_CMD_QueueHandle, CMD_Filtrado_Audio, 0);

		}
		if (filtrandoAudio && listoSD) {
			listoSD = false;
			filtrandoAudio = false;
			osMessagePut(SD_CMD_QueueHandle, CMD_ArchivoWav, 0);

		}

		if (creandoWAV && listoSD)

		{
			listoSD = false;
			creandoWAV = false;
			ready = true;

		}

		osDelay(50);
	}
  /* USER CODE END StartMainTask */
}

void StartManejoLEDs(void const * argument)
{
  /* USER CODE BEGIN StartManejoLEDs */
	/* Infinite loop */
	for (;;) {

		if (!error) {
			if (ready) // Si no estoy grabando
			{
				HAL_GPIO_WritePin(LED1_GPIO_Port, LED1_Pin, GPIO_PIN_SET);
				HAL_GPIO_WritePin(LED2_GPIO_Port, LED2_Pin, grabarECG);
				HAL_GPIO_WritePin(LED3_GPIO_Port, LED3_Pin, grabarAudio);

			} else //Si estoy grabando
			{
				HAL_GPIO_WritePin(LED1_GPIO_Port, LED1_Pin, GPIO_PIN_RESET);
				if (grabandoECG)
					HAL_GPIO_TogglePin(LED2_GPIO_Port, LED2_Pin);
				if (grabandoAudio)
					HAL_GPIO_TogglePin(LED3_GPIO_Port, LED3_Pin);
			}
		} else {
			HAL_GPIO_TogglePin(LED1_GPIO_Port, LED1_Pin); // PARPADEA LED 1 CON ERROR
		}

		osDelay(500);

	}
  /* USER CODE END StartManejoLEDs */
}

void StartRunningTask(void const * argument)
{
  /* USER CODE BEGIN StartRunningTask */
	/* Infinite loop */
	for (;;) {
		HAL_GPIO_TogglePin(LED_Status_GPIO_Port, LED_Status_Pin);
		osDelay(250);

	}
  /* USER CODE END StartRunningTask */
}

void StartTareaBluetooth(void const * argument)
{
  /* USER CODE BEGIN StartTareaBluetooth */
	/*LA APP UTILIZADA SE LLAMA BLUETOOTH ELECTRONICS
	 *
	 SE ENVIAN LOS DATOS ENTRE * CON LA LETRA G QUE INDICA LA CURVA CORREPONDIENTE*/
	uint16_t datoRecibido;
	char buffer[10];

  /* Infinite loop */
  for(;;)
  {
	  datoRecibido = (uint16_t)osMessageGet(BT_QueueHandle, osWaitForever).value.v;
	 if(BT_Listo)
		 {
		 	 memset(buffer,0,sizeof(buffer));

			sprintf(buffer, "*G%u*" ,datoRecibido);

			 BT_Listo = false;
			 HAL_UART_Transmit_IT(&huart1, (uint8_t*)buffer,sizeof(buffer));

		 }

  }
  /* USER CODE END StartTareaBluetooth */
}

void HAL_TIM_PeriodElapsedCallback(TIM_HandleTypeDef *htim)
{
  if (htim->Instance == TIM10) {
    HAL_IncTick();
  }
}

void Error_Handler(void)
{
	__disable_irq();
	while (1) {
	}
}
